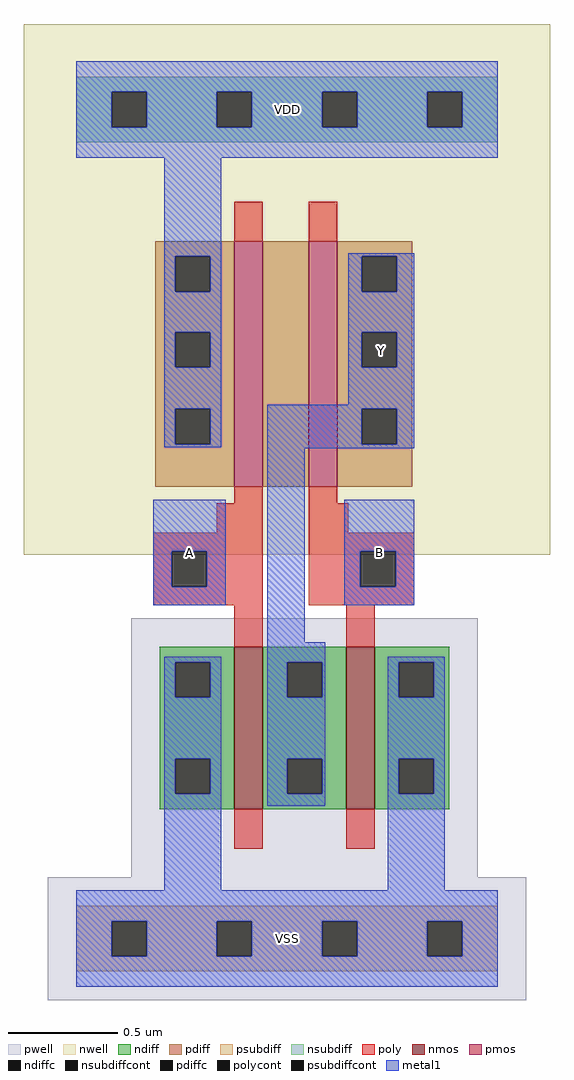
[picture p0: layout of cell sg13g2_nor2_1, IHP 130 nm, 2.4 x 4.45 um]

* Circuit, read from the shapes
.subckt sg13g2_nor2_1 A VDD Y VSS B
XM1 Y A VSS VSS sg13_lv_nmos w=0.74u l=0.13u
XM2 VSS B Y VSS sg13_lv_nmos w=0.74u l=0.13u
XM3 n1 A VDD VDD sg13_lv_pmos w=1.12u l=0.13u
XM4 Y B n1 VDD sg13_lv_pmos w=1.12u l=0.13u
.ends

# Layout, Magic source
magic
tech ihp-sg13g2
magscale 1 2
<< nwell >>
rect -48 350 432 834
<< pwell >>
rect 50 56 366 292
rect -26 -56 410 56
<< nmos >>
rect 144 118 170 266
rect 246 118 272 266
<< pmos >>
rect 144 412 170 636
rect 212 412 238 636
<< ndiff >>
rect 76 252 144 266
rect 76 220 90 252
rect 122 220 144 252
rect 76 164 144 220
rect 76 132 90 164
rect 122 132 144 164
rect 76 118 144 132
rect 170 252 246 266
rect 170 220 192 252
rect 224 220 246 252
rect 170 164 246 220
rect 170 132 192 164
rect 224 132 246 164
rect 170 118 246 132
rect 272 252 340 266
rect 272 220 294 252
rect 326 220 340 252
rect 272 164 340 220
rect 272 132 294 164
rect 326 132 340 164
rect 272 118 340 132
<< pdiff >>
rect 72 622 144 636
rect 72 590 90 622
rect 122 590 144 622
rect 72 553 144 590
rect 72 521 90 553
rect 122 521 144 553
rect 72 483 144 521
rect 72 451 90 483
rect 122 451 144 483
rect 72 412 144 451
rect 170 412 212 636
rect 238 622 306 636
rect 238 590 260 622
rect 292 590 306 622
rect 238 553 306 590
rect 238 521 260 553
rect 292 521 306 553
rect 238 483 306 521
rect 238 451 260 483
rect 292 451 306 483
rect 238 412 306 451
<< ndiffc >>
rect 90 220 122 252
rect 90 132 122 164
rect 192 220 224 252
rect 192 132 224 164
rect 294 220 326 252
rect 294 132 326 164
<< pdiffc >>
rect 90 590 122 622
rect 90 521 122 553
rect 90 451 122 483
rect 260 590 292 622
rect 260 521 292 553
rect 260 451 292 483
<< psubdiff >>
rect 0 16 384 30
rect 0 -16 32 16
rect 64 -16 128 16
rect 160 -16 224 16
rect 256 -16 320 16
rect 352 -16 384 16
rect 0 -30 384 -16
<< nsubdiff >>
rect 0 772 384 786
rect 0 740 32 772
rect 64 740 128 772
rect 160 740 224 772
rect 256 740 320 772
rect 352 740 384 772
rect 0 726 384 740
<< psubdiffcont >>
rect 32 -16 64 16
rect 128 -16 160 16
rect 224 -16 256 16
rect 320 -16 352 16
<< nsubdiffcont >>
rect 32 740 64 772
rect 128 740 160 772
rect 224 740 256 772
rect 320 740 352 772
<< poly >>
rect 144 636 170 672
rect 212 636 238 672
rect 144 397 170 412
rect 128 370 170 397
rect 70 353 170 370
rect 70 321 87 353
rect 119 321 170 353
rect 70 304 170 321
rect 212 397 238 412
rect 212 370 248 397
rect 212 353 308 370
rect 212 321 259 353
rect 291 321 308 353
rect 212 304 308 321
rect 144 266 170 304
rect 246 266 272 304
rect 144 82 170 118
rect 246 82 272 118
<< polycont >>
rect 87 321 119 353
rect 259 321 291 353
<< metal1 >>
rect 0 772 384 800
rect 0 740 32 772
rect 64 740 128 772
rect 160 740 224 772
rect 256 740 320 772
rect 352 740 384 772
rect 0 712 384 740
rect 80 622 132 712
rect 80 590 90 622
rect 122 590 132 622
rect 80 553 132 590
rect 80 521 90 553
rect 122 521 132 553
rect 80 483 132 521
rect 248 622 308 625
rect 248 590 260 622
rect 292 590 308 622
rect 248 553 308 590
rect 248 521 260 553
rect 292 521 308 553
rect 248 487 308 521
rect 80 451 90 483
rect 122 451 132 483
rect 80 448 132 451
rect 174 483 308 487
rect 174 451 260 483
rect 292 451 308 483
rect 174 447 308 451
rect 70 353 136 400
rect 70 321 87 353
rect 119 321 136 353
rect 70 304 136 321
rect 174 270 208 447
rect 244 353 308 400
rect 244 321 259 353
rect 291 321 308 353
rect 244 304 308 321
rect 80 252 132 257
rect 80 220 90 252
rect 122 220 132 252
rect 80 164 132 220
rect 80 132 90 164
rect 122 132 132 164
rect 80 44 132 132
rect 174 252 227 270
rect 174 220 192 252
rect 224 220 227 252
rect 174 164 227 220
rect 174 132 192 164
rect 224 132 227 164
rect 174 121 227 132
rect 284 252 336 257
rect 284 220 294 252
rect 326 220 336 252
rect 284 164 336 220
rect 284 132 294 164
rect 326 132 336 164
rect 284 44 336 132
rect 0 16 384 44
rect 0 -16 32 16
rect 64 -16 128 16
rect 160 -16 224 16
rect 256 -16 320 16
rect 352 -16 384 16
rect 0 -44 384 -16
<< labels >>
flabel metal1 s 70 304 136 400 0 FreeSans 400 0 0 0 A
port 2 nsew
flabel metal1 s 0 712 384 800 0 FreeSans 400 0 0 0 VDD
port 3 nsew
flabel metal1 s 248 447 308 625 0 FreeSans 400 0 0 0 Y
port 4 nsew
flabel metal1 s 0 -44 384 44 0 FreeSans 400 0 0 0 VSS
port 5 nsew
flabel metal1 s 244 304 308 400 0 FreeSans 400 0 0 0 B
port 6 nsew
<< properties >>
string FIXED_BBOX 0 0 384 756
string GDS_END 11110
string GDS_FILE ../gds/controller.gds
string GDS_START 7312
<< end >>
